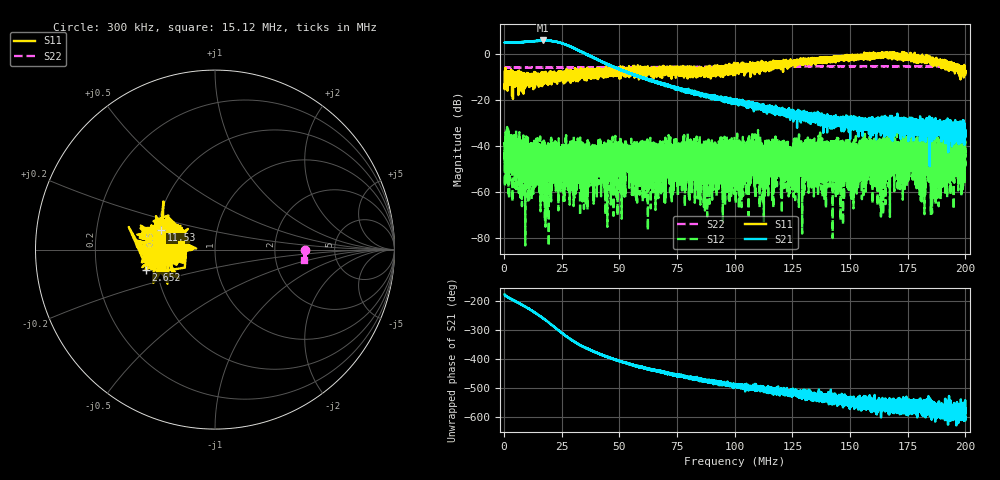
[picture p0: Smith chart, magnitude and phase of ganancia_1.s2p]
# Hz S DB R 50
! CMT, M5065, 19127446, 24.2.4/2
! Date: 10/29/2024 1:01:55 PM
! Data: Format (Calibration Info)
! Freq	S11:dB/Ang(F2)	S21:dB/Ang(F2)	S12:dB/Ang(F2)	S22:dB/Ang(F2)
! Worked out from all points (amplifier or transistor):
!   9000 points, 300 kHz to 200 MHz, reference 50 ohm
!   highest |S21| = 5.8 dB at 16.99 MHz (marker M1)
!   |S21| within 3 dB of that: start of sweep to 29.59 MHz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
!   unconditionally stable (mu >= 1): start of sweep to 156.1 MHz; 176.4 MHz to 178 MHz; 178 MHz to end of sweep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
!   at 33.59 MHz: K = 23.37, MAG = 2.9 dB, |S12| = -38.2 dB
!   at 100.2 MHz: K = 516.14, MAG = -18.6 dB, |S12| = -43.7 dB
!   at 200 MHz: K = 2194.11, MAG = -31.7 dB, |S12| = -43.4 dB
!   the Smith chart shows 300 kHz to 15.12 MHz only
!   S11 on the Smith chart (normalised r, x): 300 kHz: 0.68, -0.07; 2.652 MHz: 0.43, -0.12; 11.53 MHz: 0.53, +0.13; 15.12 MHz: 0.68, +0.04
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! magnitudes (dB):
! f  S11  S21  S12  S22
! 300 kHz  -14.2  4.9  -38.3  -6.0
! 2.652 MHz  -7.9  4.8  -41.1  -6.0
! 11.53 MHz  -9.9  5.4  -39.1  -6.0
! 15.12 MHz  -14.3  5.6  -44.2  -6.0
! 16.99 MHz  -12.7  5.8  -40.7  -6.0
! 33.59 MHz  -8.4  0.9  -38.2  -6.0
! 35.3 MHz  -7.9  0.1  -45.0  -5.9
! 41.33 MHz  -7.8  -3.0  -48.9  -5.9
! 44.11 MHz  -8.0  -4.3  -42.6  -5.9
! 53.25 MHz  -7.1  -7.9  -47.2  -5.8
! 66.87 MHz  -8.5  -12.4  -45.0  -5.8
! 70.94 MHz  -7.3  -14.2  -41.9  -5.7
! 87.49 MHz  -7.8  -17.4  -52.7  -5.7
! 100.2 MHz  -8.0  -20.8  -43.7  -5.7
! 133.4 MHz  -2.0  -27.4  -39.3  -5.5
! 148.4 MHz  -0.9  -30.4  -45.5  -5.4
! 151.4 MHz  -2.2  -31.5  -37.6  -5.4
! 166.7 MHz  -0.1  -29.5  -39.6  -5.4
! 181.7 MHz  -1.9  -32.4  -42.9  -5.5
! 184 MHz  -2.0  -31.4  -43.9  -5.5
! 190.9 MHz  -5.2  -29.7  -39.4  -5.5
! 200 MHz  -7.6  -34.0  -43.4  -5.5
